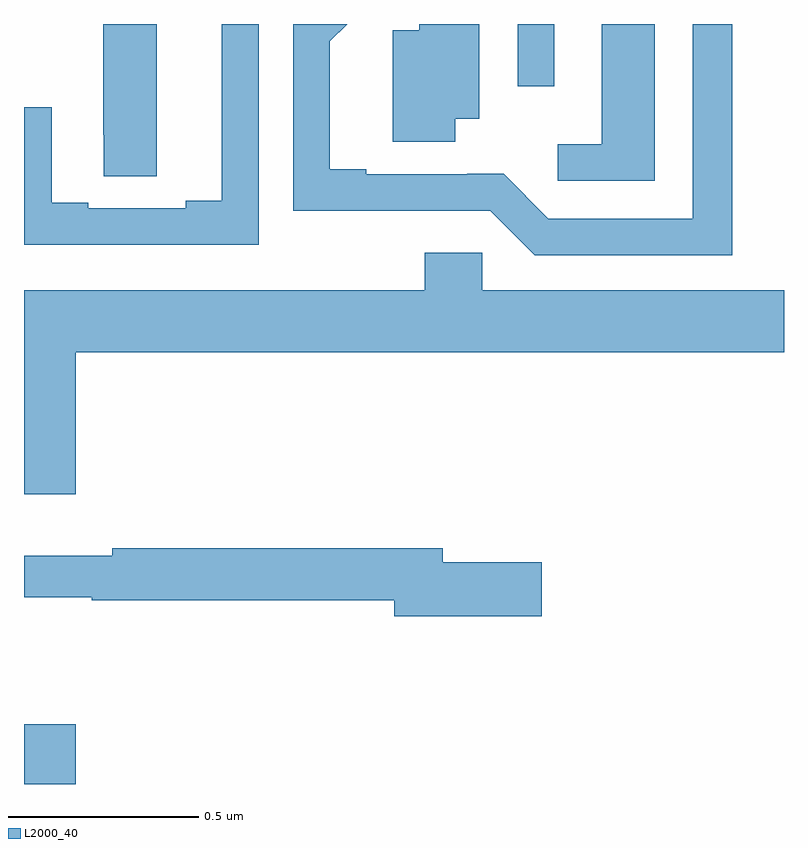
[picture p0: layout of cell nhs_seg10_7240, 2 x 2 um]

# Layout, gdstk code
import gdstk
lib = gdstk.Library(unit=1e-6, precision=1e-09)
def R(c, l, rs):  # rectangles x0, y0, x1, y1
    for r in rs: c.add(gdstk.rectangle(r[:2], r[2:], *l))
def P(c, l, *ps):  # polygons
    for p in ps: c.add(gdstk.Polygon(p, *l))
L2000_40 = (2000, 40)

nhs_seg10_7240 = lib.new_cell('nhs_seg10_7240')
R(nhs_seg10_7240, L2000_40, [(201,1312.5,201.136,1312.657), (202.299,1314.336,202.395,1314.5)])
P(nhs_seg10_7240, L2000_40, [(201.349,1314.5),(201.209,1314.5),(201.209,1314.208),(201.21,1314.208),(201.21,1314.1),(201.349,1314.1)],
  [(202.135,1314.251),(202.198,1314.251),(202.198,1314.5),(202.04,1314.5),(202.04,1314.484),(201.971,1314.484),(201.971,1314.19),(202.135,1314.19)],
  [(202.66,1314.5),(202.52,1314.5),(202.52,1314.184),(202.404,1314.184),(202.404,1314.087),(202.66,1314.087)],
  [(201.618,1314.5),(201.521,1314.5),(201.521,1314.035),(201.425,1314.035),(201.425,1314.015),(201.169,1314.015),(201.169,1314.03),(201.073,1314.03),(201.073,1314.281),(201,1314.281),(201,1313.919),(201.618,1313.919)],
  [(202.864,1314.5),(202.76,1314.5),(202.76,1313.988),(202.38,1313.988),(202.262,1314.106),(202.166,1314.106),(202.166,1314.105),(201.901,1314.105),(201.901,1314.118),(201.805,1314.118),(201.805,1314.454),(201.851,1314.5),(201.708,1314.5),(201.708,1314.008),(201.971,1314.008),(201.971,1314.009),(202.227,1314.009),(202.344,1313.892),(202.864,1313.892)],
  [(201.136,1313.636),(203,1313.636),(203,1313.8),(202.206,1313.8),(202.206,1313.898),(202.055,1313.898),(202.055,1313.8),(201,1313.8),(201,1313.262),(201.136,1313.262)],
  [(202.363,1313.084),(202.102,1313.084),(202.102,1313.12),(201.232,1313.12),(201.232,1313.101),(201,1313.101),(201,1312.992),(201.178,1312.992),(201.178,1312.984),(201.974,1312.984),(201.974,1312.942),(202.363,1312.942)])

lib.write_gds('nhs_seg10_7240.gds')
